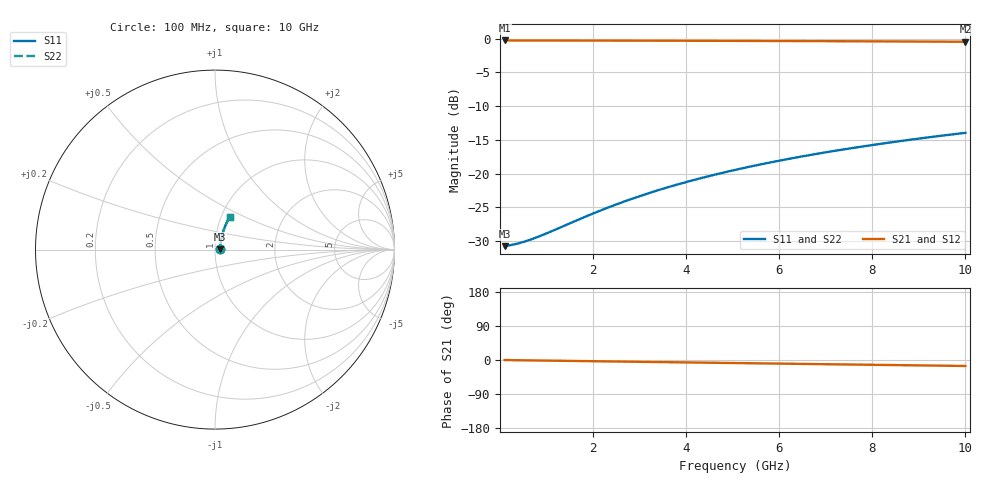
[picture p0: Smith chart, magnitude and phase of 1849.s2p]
# Hz S RI R 50.00
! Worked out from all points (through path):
!   100 points, 100 MHz to 10 GHz, reference 50 ohm
!   highest |S21| = -0.25 dB at 100 MHz (marker M1); lowest = -0.5 dB at 10 GHz (marker M2)
!   group delay of S21, straight-line fit = 4.38 ps
!   lowest |S11| = -30.8 dB at 100 MHz (marker M3), VSWR 1.06, Z = 53 + j0.207 ohm
!   |S11| at or under -10 dB: start of sweep to end of sweep
!   |S22| runs from -30.8 to -14.0 dB; largest |S21 - S12| = 0
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1e8  0.0289 0.00195  0.9711 -0.00271  0.9711 -0.00271  0.0289 0.00195
3e8  0.0293 0.00586  0.9707 -0.00811  0.9707 -0.00811  0.0293 0.00586
4e8  0.0294 0.00781  0.9706 -0.0108  0.9706 -0.0108  0.0294 0.00781
5e8  0.0295 0.00976  0.9704 -0.0135  0.9704 -0.0135  0.0295 0.00976
7e8  0.0298 0.0137  0.9702 -0.0189  0.9702 -0.0189  0.0298 0.0137
1e9  0.0303 0.0195  0.9697 -0.027  0.9697 -0.027  0.0303 0.0195
1.8e9  0.0318 0.035  0.9681 -0.0485  0.9681 -0.0485  0.0318 0.035
2.2e9  0.0328 0.0427  0.967 -0.0593  0.967 -0.0593  0.0328 0.0427
2.6e9  0.034 0.0504  0.9658 -0.07  0.9658 -0.07  0.034 0.0504
3e9  0.0353 0.0581  0.9644 -0.0806  0.9644 -0.0806  0.0353 0.0581
3.4e9  0.0368 0.0657  0.9629 -0.0913  0.9629 -0.0913  0.0368 0.0657
3.8e9  0.0384 0.0733  0.9612 -0.1019  0.9612 -0.1019  0.0384 0.0733
4.2e9  0.0402 0.0808  0.9593 -0.1124  0.9593 -0.1124  0.0402 0.0808
4.6e9  0.0421 0.0883  0.9572 -0.1229  0.9572 -0.1229  0.0421 0.0883
5.1e9  0.0448 0.0976  0.9544 -0.136  0.9544 -0.136  0.0448 0.0976
5.5e9  0.0471 0.1049  0.952 -0.1463  0.952 -0.1463  0.0471 0.1049
5.9e9  0.0496 0.1122  0.9494 -0.1566  0.9494 -0.1566  0.0496 0.1122
6.7e9  0.055 0.1266  0.9437 -0.1771  0.9437 -0.1771  0.055 0.1266
7.5e9  0.0609 0.1407  0.9374 -0.1972  0.9374 -0.1972  0.0609 0.1407
8.4e9  0.0684 0.1561  0.9295 -0.2194  0.9295 -0.2194  0.0684 0.1561
9.2e9  0.0756 0.1694  0.9219 -0.2388  0.9219 -0.2388  0.0756 0.1694
1e10  0.0833 0.1823  0.9138 -0.2578  0.9138 -0.2578  0.0833 0.1823
